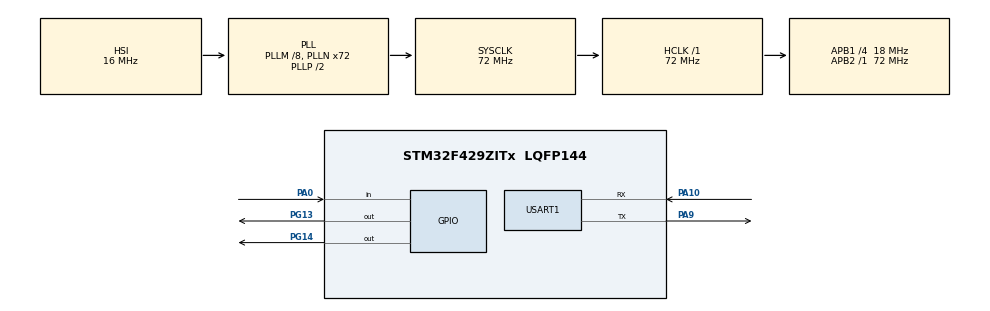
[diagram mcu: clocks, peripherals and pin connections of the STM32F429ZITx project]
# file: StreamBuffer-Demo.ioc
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FREERTOS.Tasks01=defaultTask,24,128,StartDefaultTask,Default,NULL,Dynamic,NULL,NULL
Mcu.Family=STM32F4
Mcu.Name=STM32F429ZITx
Mcu.Package=LQFP144
NVIC.PriorityGroup=NVIC_PRIORITYGROUP_4
PA0/WKUP.GPIO_PuPd=GPIO_PULLDOWN
PA0/WKUP.Signal=GPIO_Input
PA10.Mode=Asynchronous
PA10.Signal=USART1_RX
PA9.Mode=Asynchronous
PA9.Signal=USART1_TX
PG13.Signal=GPIO_Output
PG14.Signal=GPIO_Output
ProjectManager.HeapSize=0x200
ProjectManager.StackSize=0x400
ProjectManager.TargetToolchain=STM32CubeIDE
RCC.48MHZClocksFreq_Value=48000000
RCC.AHBFreq_Value=72000000
RCC.APB1CLKDivider=RCC_HCLK_DIV4
RCC.APB1Freq_Value=18000000
RCC.APB1TimFreq_Value=36000000
RCC.APB2Freq_Value=72000000
RCC.APB2TimFreq_Value=72000000
RCC.CortexFreq_Value=72000000
RCC.HCLKFreq_Value=72000000
RCC.HSE_VALUE=8000000
RCC.HSI_VALUE=16000000
RCC.LSE_VALUE=32768
RCC.PLLM=8
RCC.PLLN=72
RCC.PLLQ=3
RCC.PLLSAIN=50
RCC.SYSCLKFreq_VALUE=72000000
RCC.SYSCLKSource=RCC_SYSCLKSOURCE_PLLCLK
RCC.VCOOutputFreq_Value=144000000
USART1.VirtualMode=VM_ASYNC
VP_FREERTOS_VS_CMSIS_V2.Mode=CMSIS_V2
board=STM32F429I-DISC1

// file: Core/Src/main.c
/* USER CODE BEGIN Header */
/**
 ******************************************************************************
 * @file           : main.c
 * @brief          : Main program body
 ******************************************************************************
 * @attention
 *
 * Copyright (c) 2025 STMicroelectronics.
 * All rights reserved.
 *
 * This software is licensed under terms that can be found in the LICENSE file
 * in the root directory of this software component.
 * If no LICENSE file comes with this software, it is provided AS-IS.
 *
 ******************************************************************************
 */
/* USER CODE END Header */
#include "main.h"

/* USER CODE BEGIN PM */
/* Buffer size and trigger level */
#define STREAM_BUFFER_SIZE      512
#define TRIGGER_LEVEL           10 /* Number of bytes that must be in the buffer for a task to be unblocked */
/* USER CODE END PM */

UART_HandleTypeDef huart1;

/* Definitions for defaultTask */

/* USER CODE BEGIN PV */
/* Stream Buffer handle */
StreamBufferHandle_t xStreamBuffer;

/* Counters */
static volatile uint32_t ulStreamBytesSent = 0;
static volatile uint32_t ulStreamBytesReceived = 0;
/* USER CODE END PV */

void SystemClock_Config(void);
static void MX_GPIO_Init(void);
static void MX_USART1_UART_Init(void);
void StartDefaultTask(void *argument);

/* USER CODE BEGIN PFP */
/* Function prototypes */
static void StreamSenderTask(void *pvParameters);
static void StreamReceiverTask(void *pvParameters);
/* USER CODE END PFP */

/* USER CODE BEGIN 0 */
int _write(int file, char *data, int len)
{
	HAL_UART_Transmit(&huart1, (uint8_t*)data, len, HAL_MAX_DELAY);
	return len;
}
/* USER CODE END 0 */

int main(void)
{

	/* MCU Configuration--------------------------------------------------------*/

	/* Reset of all peripherals, Initializes the Flash interface and the Systick. */
	HAL_Init();

	/* Configure the system clock */
	SystemClock_Config();

	/* Initialize all configured peripherals */
	MX_GPIO_Init();
	MX_USART1_UART_Init();
	/* USER CODE BEGIN 2 */
	/* Create stream buffer */
	xStreamBuffer = xStreamBufferCreate(STREAM_BUFFER_SIZE, TRIGGER_LEVEL);

	if (xStreamBuffer != NULL) {
		printf("Stream Buffer created successfully: %u bytes, trigger level: %u\r\n",
				(unsigned int)STREAM_BUFFER_SIZE, (unsigned int)TRIGGER_LEVEL);
		/* USER CODE END 2 */

		/* Init scheduler */

		/* Create the thread(s) */
		/* creation of defaultTask */

		/* USER CODE BEGIN RTOS_THREADS */
		/* add threads, ... */
		printf("=== FreeRTOS Stream Buffer Demonstration ===\r\n");
		printf("STM32F429I Discovery Board\r\n");

		/* Create tasks */
		xTaskCreate(
				StreamSenderTask,       /* Task function */
				"StreamSender",         /* Task name */
				configMINIMAL_STACK_SIZE, /* Stack size */
				NULL,                   /* Parameters to pass to the task */
				tskIDLE_PRIORITY + 1,   /* Task priority */
				NULL                    /* Task handle */
		);

		xTaskCreate(
				StreamReceiverTask,     /* Task function */
				"StreamReceiver",       /* Task name */
				configMINIMAL_STACK_SIZE, /* Stack size */
				NULL,                   /* Parameters to pass to the task */
				tskIDLE_PRIORITY + 1,   /* Task priority */
				NULL                    /* Task handle */
		);

		printf("All tasks created. Starting scheduler...\r\n");

		/* Start the scheduler */
		vTaskStartScheduler();
	} else {
		printf("Failed to create stream buffer. Out of memory?\r\n");
	}
	/* USER CODE END RTOS_THREADS */

	/* Start scheduler */

	/* We should never get here as control is now taken by the scheduler */

	/* Infinite loop */
	while (1)
	{

	}
}

void SystemClock_Config(void)
{
	RCC_OscInitTypeDef RCC_OscInitStruct = {0};
	RCC_ClkInitTypeDef RCC_ClkInitStruct = {0};

	/** Configure the main internal regulator output voltage
	 */
	__HAL_RCC_PWR_CLK_ENABLE();
	__HAL_PWR_VOLTAGESCALING_CONFIG(PWR_REGULATOR_VOLTAGE_SCALE3);

	/** Initializes the RCC Oscillators according to the specified parameters
	 * in the RCC_OscInitTypeDef structure.
	 */
	RCC_OscInitStruct.OscillatorType = RCC_OSCILLATORTYPE_HSI;
	RCC_OscInitStruct.HSIState = RCC_HSI_ON;
	RCC_OscInitStruct.HSICalibrationValue = RCC_HSICALIBRATION_DEFAULT;
	RCC_OscInitStruct.PLL.PLLState = RCC_PLL_ON;
	RCC_OscInitStruct.PLL.PLLSource = RCC_PLLSOURCE_HSI;
	RCC_OscInitStruct.PLL.PLLM = 8;
	RCC_OscInitStruct.PLL.PLLN = 72;
	RCC_OscInitStruct.PLL.PLLP = RCC_PLLP_DIV2;
	RCC_OscInitStruct.PLL.PLLQ = 3;
	if (HAL_RCC_OscConfig(&RCC_OscInitStruct) != HAL_OK)
	{
		Error_Handler();
	}

	/** Initializes the CPU, AHB and APB buses clocks
	 */
	RCC_ClkInitStruct.ClockType = RCC_CLOCKTYPE_HCLK|RCC_CLOCKTYPE_SYSCLK
			|RCC_CLOCKTYPE_PCLK1|RCC_CLOCKTYPE_PCLK2;
	RCC_ClkInitStruct.SYSCLKSource = RCC_SYSCLKSOURCE_PLLCLK;
	RCC_ClkInitStruct.AHBCLKDivider = RCC_SYSCLK_DIV1;
	RCC_ClkInitStruct.APB1CLKDivider = RCC_HCLK_DIV4;
	RCC_ClkInitStruct.APB2CLKDivider = RCC_HCLK_DIV1;

	if (HAL_RCC_ClockConfig(&RCC_ClkInitStruct, FLASH_LATENCY_2) != HAL_OK)
	{
		Error_Handler();
	}
}

static void MX_USART1_UART_Init(void)
{

	huart1.Instance = USART1;
	huart1.Init.BaudRate = 115200;
	huart1.Init.WordLength = UART_WORDLENGTH_8B;
	huart1.Init.StopBits = UART_STOPBITS_1;
	huart1.Init.Parity = UART_PARITY_NONE;
	huart1.Init.Mode = UART_MODE_TX_RX;
	huart1.Init.HwFlowCtl = UART_HWCONTROL_NONE;
	huart1.Init.OverSampling = UART_OVERSAMPLING_16;
	if (HAL_UART_Init(&huart1) != HAL_OK)
	{
		Error_Handler();
	}

}

static void MX_GPIO_Init(void)
{
	GPIO_InitTypeDef GPIO_InitStruct = {0};

	/* GPIO Ports Clock Enable */
	__HAL_RCC_GPIOA_CLK_ENABLE();
	__HAL_RCC_GPIOG_CLK_ENABLE();

	/*Configure GPIO pin Output Level */
	HAL_GPIO_WritePin(GPIOG, GPIO_PIN_13|GPIO_PIN_14, GPIO_PIN_RESET);

	/*Configure GPIO pin : PA0 */
	GPIO_InitStruct.Pin = GPIO_PIN_0;
	GPIO_InitStruct.Mode = GPIO_MODE_INPUT;
	GPIO_InitStruct.Pull = GPIO_PULLDOWN;
	HAL_GPIO_Init(GPIOA, &GPIO_InitStruct);

	/*Configure GPIO pins : PG13 PG14 */
	GPIO_InitStruct.Pin = GPIO_PIN_13|GPIO_PIN_14;
	GPIO_InitStruct.Mode = GPIO_MODE_OUTPUT_PP;
	GPIO_InitStruct.Pull = GPIO_NOPULL;
	GPIO_InitStruct.Speed = GPIO_SPEED_FREQ_LOW;
	HAL_GPIO_Init(GPIOG, &GPIO_InitStruct);

}

/* USER CODE BEGIN 4 */
/**
 * @brief Stream Sender Task - Sends raw bytes to stream buffer
 * @param pvParameters: Task parameters (unused)
 */
static void StreamSenderTask(void *pvParameters)
{
	(void)pvParameters; /* Suppress unused parameter warning */
	const char *pcDataToSend = "Hello from Stream Buffer! This is a continuous stream of data. ";
	size_t xDataLength = strlen(pcDataToSend);
	size_t xBytesSent;

	printf("Stream Sender Task: Started\r\n");

	for (;;) {
		/* Send data to stream buffer */
		xBytesSent = xStreamBufferSend(xStreamBuffer,
				(void*)pcDataToSend,
				xDataLength,
				pdMS_TO_TICKS(100));

		if (xBytesSent > 0) {
			ulStreamBytesSent += xBytesSent;
			printf("Stream Sender: Sent %u bytes (Total: %lu)\r\n", (unsigned int)xBytesSent, ulStreamBytesSent);

			/* Toggle green LED to show activity */
			HAL_GPIO_TogglePin(GPIOG, GPIO_PIN_13);
		} else {
			printf("Stream Sender: Failed to send data (buffer full?)\r\n");
		}

		vTaskDelay(pdMS_TO_TICKS(1000));
	}
}

/**
 * @brief Stream Receiver Task - Receives raw bytes from stream buffer
 * @param pvParameters: Task parameters (unused)
 */
static void StreamReceiverTask(void *pvParameters)
{
	(void)pvParameters; /* Suppress unused parameter warning */
	uint8_t ucReceivedData[100];
	size_t xBytesReceived;

	printf("Stream Receiver Task: Started - waiting for stream data...\r\n");

	for (;;) {
		/* Receive data from stream buffer */
		xBytesReceived = xStreamBufferReceive(xStreamBuffer,
				(void*)ucReceivedData,
				sizeof(ucReceivedData) - 1,
				portMAX_DELAY);

		if (xBytesReceived > 0) {
			ulStreamBytesReceived += xBytesReceived;

			/* Null terminate for printing */
			ucReceivedData[xBytesReceived] = '\0';

			printf("Stream Receiver: Received %u bytes (Total: %lu): %s\r\n",
					(unsigned int)xBytesReceived, ulStreamBytesReceived, ucReceivedData);

			/* Toggle red LED to show activity */
			HAL_GPIO_TogglePin(GPIOG, GPIO_PIN_14);
		}
	}
}

/* USER CODE END 4 */

void StartDefaultTask(void *argument)
{
	for(;;)
	{
	}
}

void Error_Handler(void)
{
	__disable_irq();
	while (1)
	{
	}
}
